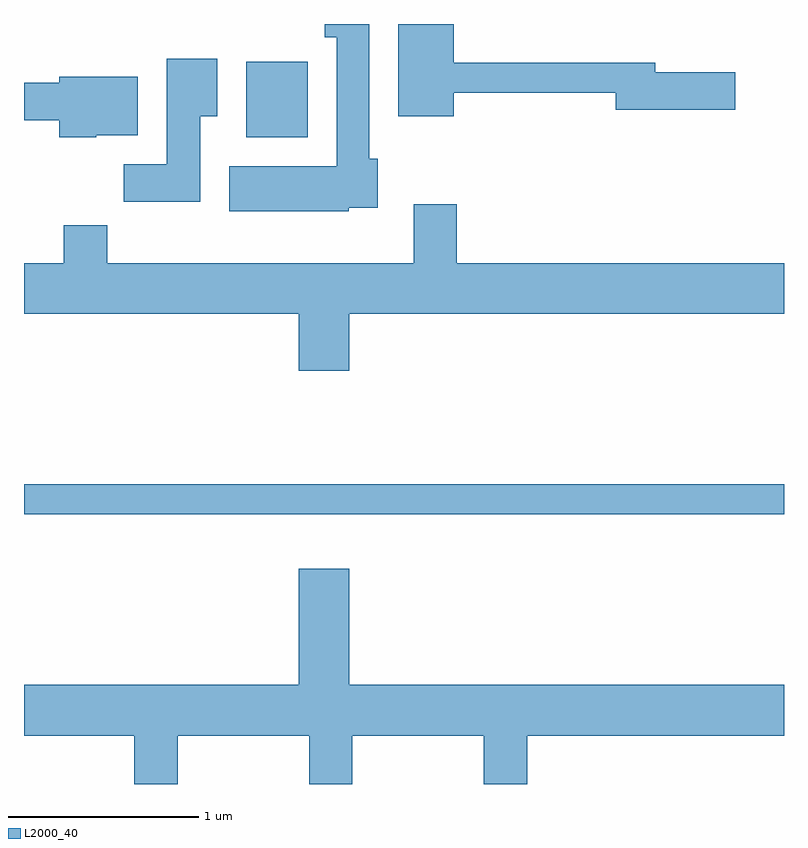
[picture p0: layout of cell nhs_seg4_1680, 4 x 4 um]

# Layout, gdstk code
import gdstk
lib = gdstk.Library(unit=1e-6, precision=1e-09)
def R(c, l, rs):  # rectangles x0, y0, x1, y1
    for r in rs: c.add(gdstk.rectangle(r[:2], r[2:], *l))
def P(c, l, *ps):  # polygons
    for p in ps: c.add(gdstk.Polygon(p, *l))
L2000_40 = (2000, 40)

nhs_seg4_1680 = lib.new_cell('nhs_seg4_1680')
R(nhs_seg4_1680, L2000_40, [(233.611,1351.401,237.611,1351.559), (234.781,1353.386,235.104,1353.784)])
P(nhs_seg4_1680, L2000_40, [(235.319,1353.016),(235.474,1353.016),(235.474,1353.274),(235.429,1353.274),(235.429,1353.982),(235.193,1353.982),(235.193,1353.911),(235.256,1353.911),(235.256,1353.234),(234.691,1353.234),(234.691,1352.996),(235.319,1352.996)],
  [(235.874,1353.621),(236.726,1353.621),(236.726,1353.531),(237.354,1353.531),(237.354,1353.729),(236.934,1353.729),(236.934,1353.779),(235.874,1353.779),(235.874,1353.982),(235.581,1353.982),(235.581,1353.496),(235.874,1353.496)],
  [(234.539,1353.496),(234.629,1353.496),(234.629,1353.799),(234.361,1353.799),(234.361,1353.244),(234.136,1353.244),(234.136,1353.046),(234.539,1353.046)],
  [(233.99,1353.396),(234.209,1353.396),(234.209,1353.704),(233.796,1353.704),(233.796,1353.674),(233.611,1353.674),(233.611,1353.476),(233.796,1353.476),(233.796,1353.386),(233.99,1353.386)],
  [(235.324,1352.456),(237.611,1352.456),(237.611,1352.724),(235.889,1352.724),(235.889,1353.034),(235.661,1353.034),(235.661,1352.724),(234.049,1352.724),(234.049,1352.924),(233.821,1352.924),(233.821,1352.724),(233.611,1352.724),(233.611,1352.456),(235.056,1352.456),(235.056,1352.156),(235.324,1352.156)],
  [(234.419,1350.236),(235.111,1350.236),(235.111,1349.982),(235.339,1349.982),(235.339,1350.236),(236.031,1350.236),(236.031,1349.982),(236.259,1349.982),(236.259,1350.236),(237.611,1350.236),(237.611,1350.504),(235.324,1350.504),(235.324,1351.114),(235.056,1351.114),(235.056,1350.504),(233.611,1350.504),(233.611,1350.236),(234.191,1350.236),(234.191,1349.982),(234.419,1349.982)])

lib.write_gds('nhs_seg4_1680.gds')
